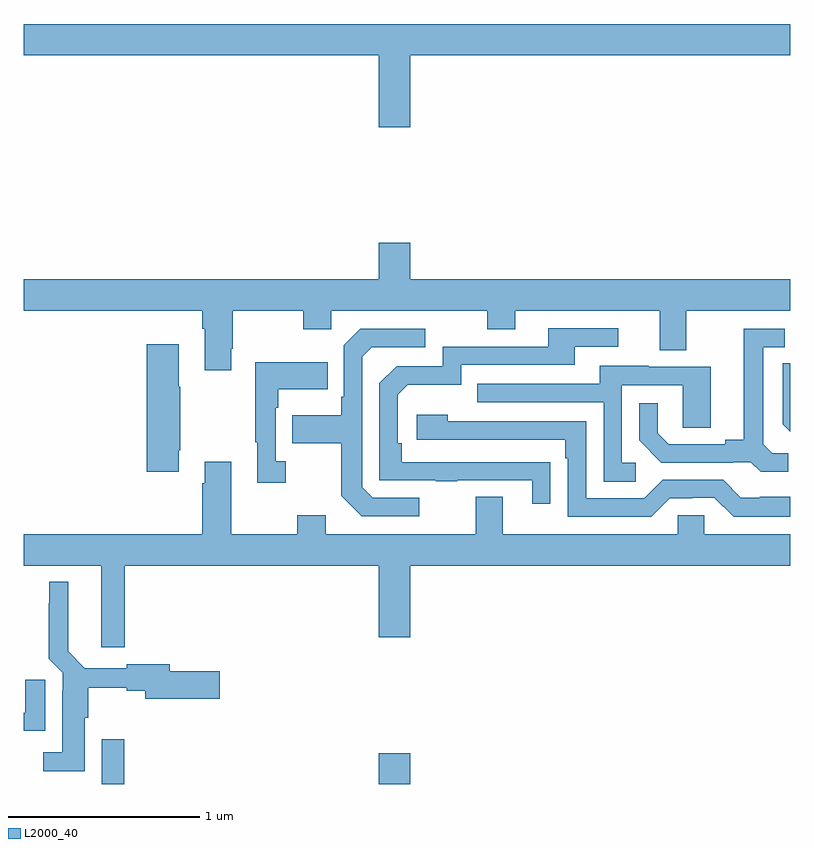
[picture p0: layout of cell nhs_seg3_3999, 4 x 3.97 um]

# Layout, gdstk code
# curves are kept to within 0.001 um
import gdstk
lib = gdstk.Library(unit=1e-6, precision=1e-09)
def R(c, l, rs):  # rectangles x0, y0, x1, y1
    for r in rs: c.add(gdstk.rectangle(r[:2], r[2:], *l))
def P(c, l, *ps):  # polygons
    for p in ps: c.add(gdstk.Polygon(p, *l))
L2000_40 = (2000, 40)

nhs_seg3_3999 = lib.new_cell('nhs_seg3_3999')
R(nhs_seg3_3999, L2000_40, [(319.407,742.4,319.523,742.633), (320.852,742.4,321.016,742.561)])
P(nhs_seg3_3999, L2000_40, [(321.016,746.204),(323,746.204),(323,746.368),(319,746.368),(319,746.204),(320.852,746.204),(320.852,745.83),(321.016,745.83)],
  [(320.083,744.673),(320.091,744.673),(320.091,744.872),(320.458,744.872),(320.458,744.773),(320.604,744.773),(320.604,744.872),(321.418,744.872),(321.418,744.773),(321.565,744.773),(321.565,744.872),(322.319,744.872),(322.319,744.664),(322.459,744.664),(322.459,744.872),(323,744.872),(323,745.036),(321.016,745.036),(321.016,745.225),(320.852,745.225),(320.852,745.036),(319,745.036),(319,744.872),(319.931,744.872),(319.931,744.776),(319.943,744.776),(319.943,744.561),(320.083,744.561)],
  [(321.749,744.08),(320.972,744.081),(320.972,744.178),(320.952,744.178),(320.952,744.432),(321.005,744.485),(321.282,744.485),(321.282,744.588),(321.877,744.588),(321.877,744.684),(322.102,744.684),(322.102,744.78),(321.737,744.78),(321.737,744.684),(321.186,744.684),(321.186,744.582),(320.946,744.582),(320.856,744.492),(320.856,743.985),(321.151,743.985),(321.151,743.98),(321.263,743.98),(321.263,743.985),(321.653,743.985),(321.653,743.862),(321.749,743.862)],
  [(321.064,743.895),(320.82,743.895),(320.766,743.949),(320.766,744.63),(320.817,744.681),(321.094,744.681),(321.094,744.777),(320.757,744.777),(320.67,744.69),(320.67,744.421),(320.658,744.421),(320.658,744.325),(320.401,744.325),(320.401,744.178),(320.658,744.178),(320.658,743.905),(320.763,743.799),(321.064,743.799)],
  [(322.99,744.126),(322.908,744.126),(322.861,744.173),(322.861,744.681),(322.972,744.681),(322.972,744.777),(322.757,744.777),(322.757,744.197),(322.661,744.197),(322.661,744.174),(322.366,744.174),(322.309,744.231),(322.309,744.388),(322.212,744.388),(322.212,744.194),(322.328,744.078),(322.7,744.078),(322.7,744.081),(322.794,744.081),(322.846,744.029),(322.99,744.029)],
  [(319.807,744.142),(319.815,744.142),(319.815,744.473),(319.807,744.473),(319.807,744.697),(319.64,744.697),(319.64,744.03),(319.807,744.03)],
  [(320.368,744.086),(320.316,744.086),(320.316,744.365),(320.329,744.365),(320.329,744.461),(320.585,744.461),(320.585,744.601),(320.208,744.601),(320.208,744.185),(320.219,744.185),(320.219,743.973),(320.368,743.973)],
  [(323,744.596),(322.962,744.596),(322.962,744.278),(323,744.24)],
  [(322.195,744.078),(322.122,744.078),(322.122,744.483),(322.44,744.483),(322.44,744.259),(322.585,744.259),(322.585,744.579),(322.261,744.579),(322.261,744.583),(322.007,744.583),(322.007,744.489),(321.367,744.489),(321.367,744.393),(322.026,744.393),(322.026,743.977),(322.195,743.977)],
  [(323,743.899),(322.843,743.899),(322.843,743.895),(322.743,743.895),(322.65,743.988),(322.335,743.988),(322.239,743.892),(321.936,743.892),(321.936,744.294),(321.212,744.294),(321.212,744.328),(321.051,744.328),(321.051,744.198),(321.827,744.198),(321.827,744.101),(321.84,744.101),(321.84,743.796),(322.275,743.796),(322.371,743.892),(322.49,743.892),(322.49,743.895),(322.605,743.895),(322.705,743.795),(323,743.795)],
  [(319.526,743.54),(320.852,743.54),(320.852,743.166),(321.016,743.166),(321.016,743.54),(323,743.54),(323,743.704),(322.551,743.704),(322.551,743.802),(322.413,743.802),(322.413,743.704),(321.499,743.704),(321.499,743.899),(321.359,743.899),(321.359,743.704),(320.575,743.704),(320.575,743.803),(320.428,743.803),(320.428,743.704),(320.083,743.704),(320.083,744.082),(319.943,744.082),(319.943,743.969),(319.931,743.969),(319.931,743.704),(319,743.704),(319,743.54),(319.403,743.54),(319.403,743.115),(319.526,743.115)],
  [(319.318,742.746),(319.336,742.746),(319.336,742.903),(319.538,742.903),(319.538,742.888),(319.634,742.888),(319.634,742.846),(320.023,742.846),(320.023,742.988),(319.762,742.988),(319.762,743.024),(319.538,743.024),(319.538,743.004),(319.318,743.004),(319.231,743.092),(319.231,743.455),(319.133,743.455),(319.133,743.345),(319.129,743.345),(319.129,743.054),(319.203,742.98),(319.203,742.886),(319.199,742.886),(319.199,742.567),(319.101,742.567),(319.101,742.466),(319.318,742.466)],
  [(319.111,742.945),(319.007,742.945),(319.007,742.773),(319,742.773),(319,742.677),(319.111,742.677)])

lib.write_gds('nhs_seg3_3999.gds')
